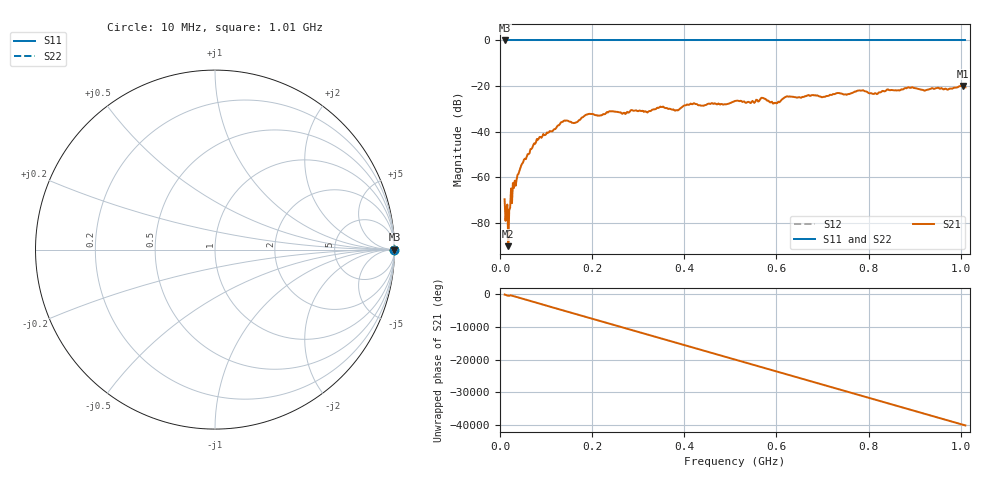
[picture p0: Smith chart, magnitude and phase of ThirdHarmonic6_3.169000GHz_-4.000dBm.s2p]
! 8/17/2025 9:32:09 AM
! C:\ANRITSUVNA\TEMP\TEMP.S2P
! CHANNEL.1
! TR.MEASUREMENT
! RAW.DATA
! RF.CORRECTION.OFF
! AVERAGING.OFF
! IF.BANDWIDTH: 5KHZ
! SWEEPTYPE:  FREQ.SWEEP(Linear)
! Reference Plane Port Info
! PORT:  PORT1  PORT2
! DISTANCE:  0  m  0  m
! TIME:  0  s  0  s
! PHASE.OFFSET:  0  deg.  0  deg.
! LOSS:  0  dB  0  dB
! REF.LOSS:  0  dB  0  dB
! REF.FREQ:  0  Hz  0  Hz
! Power Info
! POWER:  -20  dBm  -20  dBm
! EFF.POWER:  -20  dBm  -20  dBm
! SOURCE.ATTEN:  0  dB  0  dB
! TEST.ATTEN:  0  dB  0  dB
# GHZ S RI R 50.0
! FREQ.GHZ  S11RE  S11IM  S21RE  S21IM  S12RE  S12IM  S22RE  S22IM
!; PortSelection: Port_12
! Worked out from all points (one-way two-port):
!   501 points, 10 MHz to 1.01 GHz, reference 50 ohm
!   highest |S21| = -19.96 dB at 1.004 GHz (marker M1); lowest = -90.2 dB at 18 MHz (marker M2)
!   lowest |S11| = 0.0 dB at 10 MHz (marker M3)
!   |S11| at or under -10 dB: nowhere
!   |S22| runs from 0.0 to 0.0 dB; largest |S21 - S12| = 1.1
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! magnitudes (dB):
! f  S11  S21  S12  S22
! 10 MHz  0.0  -69.7  0.0  0.0
! 16 MHz  0.0  -72.0  0.0  0.0
! 18 MHz  0.0  -90.2  0.0  0.0
! 22 MHz  0.0  -73.3  0.0  0.0
! 28 MHz  0.0  -62.6  0.0  0.0
! 42 MHz  0.0  -57.3  0.0  0.0
! 76 MHz  0.0  -45.3  0.0  0.0
! 136 MHz  0.0  -35.7  0.0  0.0
! 162 MHz  0.0  -36.2  0.0  0.0
! 178 MHz  0.0  -33.8  0.0  0.0
! 344 MHz  0.0  -29.6  0.0  0.0
! 384 MHz  0.0  -30.6  0.0  0.0
! 418 MHz  0.0  -28.0  0.0  0.0
! 510 MHz  0.0  -26.6  0.0  0.0
! 548 MHz  0.0  -26.5  0.0  0.0
! 570 MHz  0.0  -25.2  0.0  0.0
! 596 MHz  0.0  -27.4  0.0  0.0
! 622 MHz  0.0  -24.6  0.0  0.0
! 678 MHz  0.0  -24.0  0.0  0.0
! 844 MHz  0.0  -21.7  0.0  0.0
! 1.004 GHz  0.0  -20.0  0.0  0.0
! 1.01 GHz  0.0  -20.6  0.0  0.0
